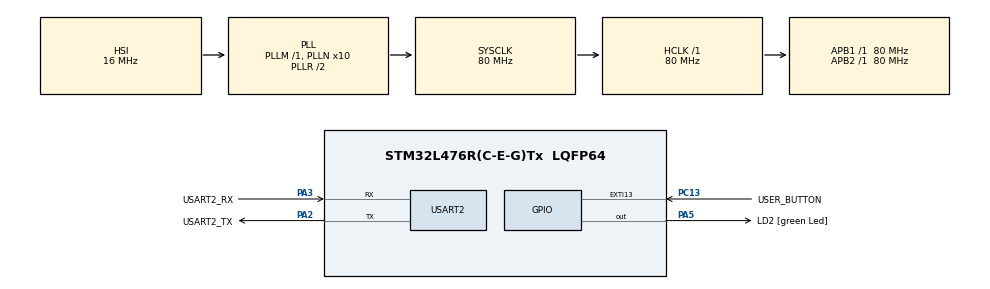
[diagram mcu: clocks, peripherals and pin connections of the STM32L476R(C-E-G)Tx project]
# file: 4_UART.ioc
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Mcu.Family=STM32L4
Mcu.Name=STM32L476R(C-E-G)Tx
Mcu.Package=LQFP64
NVIC.PriorityGroup=NVIC_PRIORITYGROUP_4
PA13\ (JTMS-SWDIO).GPIO_Label=TMS
PA13\ (JTMS-SWDIO).Mode=Serial_Wire
PA13\ (JTMS-SWDIO).Signal=SYS_JTMS-SWDIO
PA14\ (JTCK-SWCLK).GPIO_Label=TCK
PA14\ (JTCK-SWCLK).Mode=Serial_Wire
PA14\ (JTCK-SWCLK).Signal=SYS_JTCK-SWCLK
PA2.GPIO_Label=USART2_TX
PA2.GPIO_Mode=GPIO_MODE_AF_PP
PA2.GPIO_PuPd=GPIO_NOPULL
PA2.GPIO_Speed=GPIO_SPEED_FREQ_VERY_HIGH
PA2.Mode=Asynchronous
PA2.Signal=USART2_TX
PA3.GPIO_Label=USART2_RX
PA3.GPIO_Mode=GPIO_MODE_AF_PP
PA3.GPIO_PuPd=GPIO_NOPULL
PA3.GPIO_Speed=GPIO_SPEED_FREQ_VERY_HIGH
PA3.Mode=Asynchronous
PA3.Signal=USART2_RX
PA5.GPIO_Label=LD2 [green Led]
PA5.GPIO_ModeDefaultOutputPP=GPIO_MODE_OUTPUT_PP
PA5.GPIO_PuPd=GPIO_NOPULL
PA5.GPIO_Speed=GPIO_SPEED_FREQ_LOW
PA5.Signal=GPIO_Output
PB3\ (JTDO-TRACESWO).GPIO_Label=SWO
PB3\ (JTDO-TRACESWO).Signal=SYS_JTDO-SWO
PC13.GPIO_Label=USER_BUTTON
PC13.GPIO_ModeDefaultEXTI=GPIO_MODE_IT_FALLING
PC13.GPIO_PuPd=GPIO_NOPULL
PC13.Signal=GPXTI13
PC14-OSC32_IN\ (PC14).Mode=LSE-External-Oscillator
PC14-OSC32_IN\ (PC14).Signal=RCC_OSC32_IN
PC15-OSC32_OUT\ (PC15).Mode=LSE-External-Oscillator
PC15-OSC32_OUT\ (PC15).Signal=RCC_OSC32_OUT
PH0-OSC_IN\ (PH0).Signal=RCC_OSC_IN
PH1-OSC_OUT\ (PH1).Signal=RCC_OSC_OUT
ProjectManager.HeapSize=0x200
ProjectManager.StackSize=0x400
ProjectManager.TargetToolchain=STM32CubeIDE
RCC.ADCFreq_Value=64000000
RCC.AHBFreq_Value=80000000
RCC.APB1Freq_Value=80000000
RCC.APB1TimFreq_Value=80000000
RCC.APB2Freq_Value=80000000
RCC.APB2TimFreq_Value=80000000
RCC.CortexFreq_Value=80000000
RCC.HCLKFreq_Value=80000000
RCC.HSE_VALUE=8000000
RCC.HSI_VALUE=16000000
RCC.MSI_VALUE=4000000
RCC.PLLN=10
RCC.PLLSourceVirtual=RCC_PLLSOURCE_HSI
RCC.PREFETCH_ENABLE=1
RCC.SYSCLKFreq_VALUE=80000000
RCC.SYSCLKSource=RCC_SYSCLKSOURCE_PLLCLK
RCC.USBFreq_Value=64000000
RCC.VCOOutputFreq_Value=160000000
USART2.OverrunDisableParam=ADVFEATURE_OVERRUN_DISABLE
USART2.VirtualMode-Asynchronous=VM_ASYNC
board=NUCLEO-L476RG

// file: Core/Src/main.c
/* USER CODE BEGIN Header */
/**
 ******************************************************************************
 * @file           : main.c
 * @brief          : Main program body
 ******************************************************************************
 * @attention
 *
 * Copyright (c) 2023 STMicroelectronics.
 * All rights reserved.
 *
 * This software is licensed under terms that can be found in the LICENSE file
 * in the root directory of this software component.
 * If no LICENSE file comes with this software, it is provided AS-IS.
 *
 ******************************************************************************
 */
/* USER CODE END Header */
#include "main.h"

/* USER CODE BEGIN Includes */
#include <string.h>
#include <stdio.h>
#include <stdbool.h>
/* USER CODE END Includes */

/* USER CODE BEGIN PD */
#define LINE_MAX_LENGTH 80
/* USER CODE END PD */

UART_HandleTypeDef huart2;

/* USER CODE BEGIN PV */
UART_HandleTypeDef huart2;
static char line_buffer[LINE_MAX_LENGTH + 1];
static uint32_t line_length;
GPIO_PinState USER_BUTTON_STATE = GPIO_PIN_SET;
/* USER CODE END PV */

void SystemClock_Config(void);
static void MX_GPIO_Init(void);
static void MX_USART2_UART_Init(void);

/* USER CODE BEGIN 0 */

/*
When calling the function, we will pass the latest received byte to it. So we start by checking whether we have accidentally
received an end-of-line character. If so, we need to check if there is already a message in our buffer (the number of bytes is greater than 0).
Earlier in this article, we already mentioned that in the C language there is a character with the code "\0" at the end of the subtitle,
so we add it to our array (and that's why we declared that this array is 1 larger than the maximum expected line length).
We then send our message using printf.*/

/*
On the other hand, if we have received something else from the end-of-line character, we check whether our buffer can still hold further data,
and write the received byte to the nearest free position in the buffer.
As you can see, by using printf, the code of our line_append function has become completely independent of the HAL library or even the microcontroller used.
It is a universal and very simplified code that allows us to process the received characters.
*/

int __io_putchar(int ch)
{
  if (ch == '\n')
  {
    char ch2 = '\r';
    HAL_UART_Transmit(&huart2, &ch2, 1, HAL_MAX_DELAY);
  }
  HAL_UART_Transmit(&huart2, (uint8_t *)&ch, 1, HAL_MAX_DELAY);
  return 1;
}

void line_append(uint8_t value)
{
  if (value == '\r' || value == '\n')
  {
    // we picked up the end-of-line character
    if (line_length > 0)
    {
      // if the buffer is not empty then we add 0 at the end of the line
      line_buffer[line_length] = '\0';
      if (strcmp(line_buffer, "on") == 0)
      {
        HAL_GPIO_WritePin(LD2_GPIO_Port, LD2_Pin, GPIO_PIN_SET);
      }
      else if (strcmp(line_buffer, "off") == 0)
      {
        HAL_GPIO_WritePin(LD2_GPIO_Port, LD2_Pin, GPIO_PIN_RESET);
      }
      else
      {
        printf("Unknown command %s\n", line_buffer);
      }
      // we process data
      printf("Recived: %s\n", line_buffer);
      // we start the data collection all over again
      line_length = 0;
    }
  }
  else
  {
    if (line_length >= LINE_MAX_LENGTH)
    {
      // too much data, we delete everything we have received so far
      line_length = 0;
    }
    // add the value to the buffer
    line_buffer[line_length++] = value;
  }
}

bool is_button_pressed()
{
  if (HAL_GPIO_ReadPin(USER_BUTTON_GPIO_Port, USER_BUTTON_Pin) == GPIO_PIN_RESET)
  {
    return true;
  }
  else
  {
    return false;
  }
}

void turn_LED(uint8_t press_counter){
  if (press_counter >= 10){
    HAL_GPIO_WritePin(LD2_GPIO_Port, LD2_Pin, GPIO_PIN_SET);
  }
}

uint8_t when_button_pressed(uint8_t press_counter){
  press_counter++;
  printf("%d\n", press_counter);
  while(is_button_pressed() == true) continue;
  turn_LED(press_counter);
  HAL_Delay(10);
  return press_counter;
}

/* USER CODE END 0 */

int main(void)
{

  /* MCU Configuration--------------------------------------------------------*/

  /* Reset of all peripherals, Initializes the Flash interface and the Systick. */
  HAL_Init();

  /* USER CODE BEGIN Init */
  uint8_t press_counter = 0;
  /* USER CODE END Init */

  /* Configure the system clock */
  SystemClock_Config();

  /* Initialize all configured peripherals */
  MX_GPIO_Init();
  MX_USART2_UART_Init();

  /* Infinite loop */
  /* USER CODE BEGIN WHILE */

  while (1)
  {

    if(is_button_pressed() == true)
    {
      press_counter = when_button_pressed(press_counter);
    }

    /* USER CODE END WHILE */

  }
}

void SystemClock_Config(void)
{
  RCC_OscInitTypeDef RCC_OscInitStruct = {0};
  RCC_ClkInitTypeDef RCC_ClkInitStruct = {0};

  /** Configure the main internal regulator output voltage
   */
  if (HAL_PWREx_ControlVoltageScaling(PWR_REGULATOR_VOLTAGE_SCALE1) != HAL_OK)
  {
    Error_Handler();
  }

  /** Initializes the RCC Oscillators according to the specified parameters
   * in the RCC_OscInitTypeDef structure.
   */
  RCC_OscInitStruct.OscillatorType = RCC_OSCILLATORTYPE_HSI;
  RCC_OscInitStruct.HSIState = RCC_HSI_ON;
  RCC_OscInitStruct.HSICalibrationValue = RCC_HSICALIBRATION_DEFAULT;
  RCC_OscInitStruct.PLL.PLLState = RCC_PLL_ON;
  RCC_OscInitStruct.PLL.PLLSource = RCC_PLLSOURCE_HSI;
  RCC_OscInitStruct.PLL.PLLM = 1;
  RCC_OscInitStruct.PLL.PLLN = 10;
  RCC_OscInitStruct.PLL.PLLP = RCC_PLLP_DIV7;
  RCC_OscInitStruct.PLL.PLLQ = RCC_PLLQ_DIV2;
  RCC_OscInitStruct.PLL.PLLR = RCC_PLLR_DIV2;
  if (HAL_RCC_OscConfig(&RCC_OscInitStruct) != HAL_OK)
  {
    Error_Handler();
  }

  /** Initializes the CPU, AHB and APB buses clocks
   */
  RCC_ClkInitStruct.ClockType = RCC_CLOCKTYPE_HCLK | RCC_CLOCKTYPE_SYSCLK | RCC_CLOCKTYPE_PCLK1 | RCC_CLOCKTYPE_PCLK2;
  RCC_ClkInitStruct.SYSCLKSource = RCC_SYSCLKSOURCE_PLLCLK;
  RCC_ClkInitStruct.AHBCLKDivider = RCC_SYSCLK_DIV1;
  RCC_ClkInitStruct.APB1CLKDivider = RCC_HCLK_DIV1;
  RCC_ClkInitStruct.APB2CLKDivider = RCC_HCLK_DIV1;

  if (HAL_RCC_ClockConfig(&RCC_ClkInitStruct, FLASH_LATENCY_4) != HAL_OK)
  {
    Error_Handler();
  }
}

static void MX_USART2_UART_Init(void)
{

  huart2.Instance = USART2;
  huart2.Init.BaudRate = 115200;
  huart2.Init.WordLength = UART_WORDLENGTH_8B;
  huart2.Init.StopBits = UART_STOPBITS_1;
  huart2.Init.Parity = UART_PARITY_NONE;
  huart2.Init.Mode = UART_MODE_TX_RX;
  huart2.Init.HwFlowCtl = UART_HWCONTROL_NONE;
  huart2.Init.OverSampling = UART_OVERSAMPLING_16;
  huart2.Init.OneBitSampling = UART_ONE_BIT_SAMPLE_DISABLE;
  huart2.AdvancedInit.AdvFeatureInit = UART_ADVFEATURE_RXOVERRUNDISABLE_INIT;
  huart2.AdvancedInit.OverrunDisable = UART_ADVFEATURE_OVERRUN_DISABLE;
  if (HAL_UART_Init(&huart2) != HAL_OK)
  {
    Error_Handler();
  }
}

static void MX_GPIO_Init(void)
{
  GPIO_InitTypeDef GPIO_InitStruct = {0};

  /* GPIO Ports Clock Enable */
  __HAL_RCC_GPIOC_CLK_ENABLE();
  __HAL_RCC_GPIOH_CLK_ENABLE();
  __HAL_RCC_GPIOA_CLK_ENABLE();
  __HAL_RCC_GPIOB_CLK_ENABLE();

  /*Configure GPIO pin Output Level */
  HAL_GPIO_WritePin(LD2_GPIO_Port, LD2_Pin, GPIO_PIN_RESET);

  /*Configure GPIO pin : USER_BUTTON_Pin */
  GPIO_InitStruct.Pin = USER_BUTTON_Pin;
  GPIO_InitStruct.Mode = GPIO_MODE_IT_FALLING;
  GPIO_InitStruct.Pull = GPIO_NOPULL;
  HAL_GPIO_Init(USER_BUTTON_GPIO_Port, &GPIO_InitStruct);

  /*Configure GPIO pin : LD2_Pin */
  GPIO_InitStruct.Pin = LD2_Pin;
  GPIO_InitStruct.Mode = GPIO_MODE_OUTPUT_PP;
  GPIO_InitStruct.Pull = GPIO_NOPULL;
  GPIO_InitStruct.Speed = GPIO_SPEED_FREQ_LOW;
  HAL_GPIO_Init(LD2_GPIO_Port, &GPIO_InitStruct);

}

void Error_Handler(void)
{
  __disable_irq();
  while (1)
  {
  }
}
